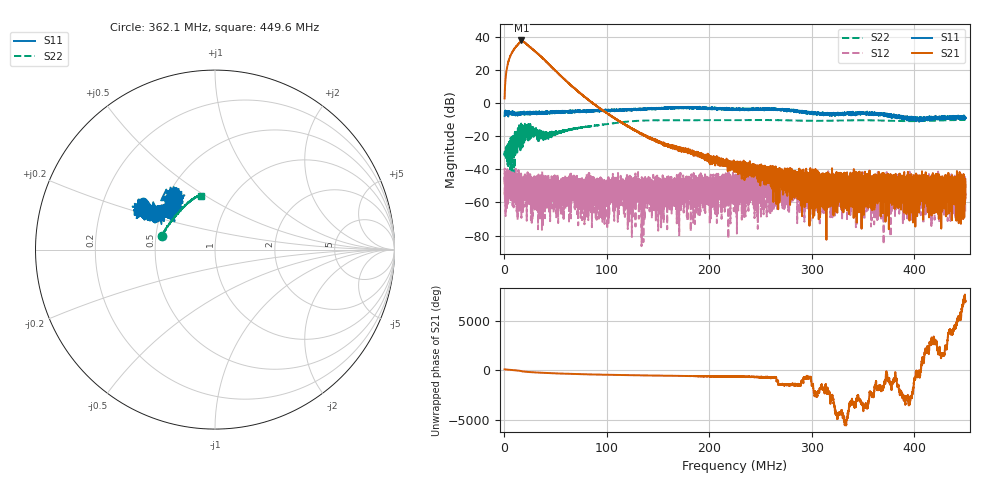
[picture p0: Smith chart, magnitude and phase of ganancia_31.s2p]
# Hz S DB R 50
! CMT, M5065, 19127446, 24.2.4/2
! Date: 12/3/2024 4:18:59 PM
! Data: Format (Calibration Info)
! Freq	S11:dB/Ang(F2)	S21:dB/Ang(F2)	S12:dB/Ang(F2)	S22:dB/Ang(F2)
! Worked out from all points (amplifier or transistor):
!   9000 points, 300 kHz to 450 MHz, reference 50 ohm
!   highest |S21| = 38.0 dB at 16.74 MHz (marker M1)
!   |S21| within 3 dB of that: 12.49 MHz to 23.02 MHz (10.52 MHz wide, 59.3 % of centre)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
!   unconditionally stable (mu >= 1): start of sweep to 11.14 MHz; 11.14 MHz to 13.83 MHz; 14.44 MHz to end of sweep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
!   at 75.26 MHz: K = 54.69, MAG = 7.4 dB, |S12| = -50.1 dB
!   at 225.2 MHz: K = 5022.58, MAG = -35.1 dB, |S12| = -47.8 dB
!   at 450 MHz: K = 31783.88, MAG = -44.8 dB, |S12| = -52.3 dB
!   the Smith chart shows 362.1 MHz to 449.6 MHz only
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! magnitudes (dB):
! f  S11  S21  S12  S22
! 300 kHz  -7.7  3.0  -55.3  -29.9
! 3.048 MHz  -5.4  22.8  -50.1  -31.4
! 5.347 MHz  -5.2  27.7  -52.4  -26.0
! 16.74 MHz  -6.6  38.0  -48.0  -16.3
! 22.34 MHz  -6.8  35.5  -59.2  -16.4
! 40.43 MHz  -5.3  25.5  -49.9  -17.9
! 75.26 MHz  -4.8  5.5  -50.1  -14.6
! 111.4 MHz  -4.5  -10.3  -63.6  -11.7
! 150.2 MHz  -2.9  -23.3  -77.0  -10.3
! 193.1 MHz  -3.0  -31.1  -45.6  -10.2
! 206.8 MHz  -3.1  -32.8  -57.4  -10.2
! 214.5 MHz  -3.2  -37.2  -45.5  -10.2
! 225.2 MHz  -3.7  -37.9  -47.8  -10.2
! 269.3 MHz  -3.6  -46.6  -54.5  -10.2
! 275.7 MHz  -4.4  -45.1  -51.0  -10.3
! 300.1 MHz  -6.1  -51.1  -50.4  -10.6
! 323.4 MHz  -7.1  -50.1  -51.0  -10.5
! 375.1 MHz  -7.5  -52.4  -55.0  -10.6
! 397.2 MHz  -9.1  -46.6  -47.1  -10.8
! 418.4 MHz  -9.1  -42.3  -52.6  -10.6
! 446.7 MHz  -8.5  -51.3  -58.6  -10.1
! 450 MHz  -8.6  -45.9  -52.3  -10.1
